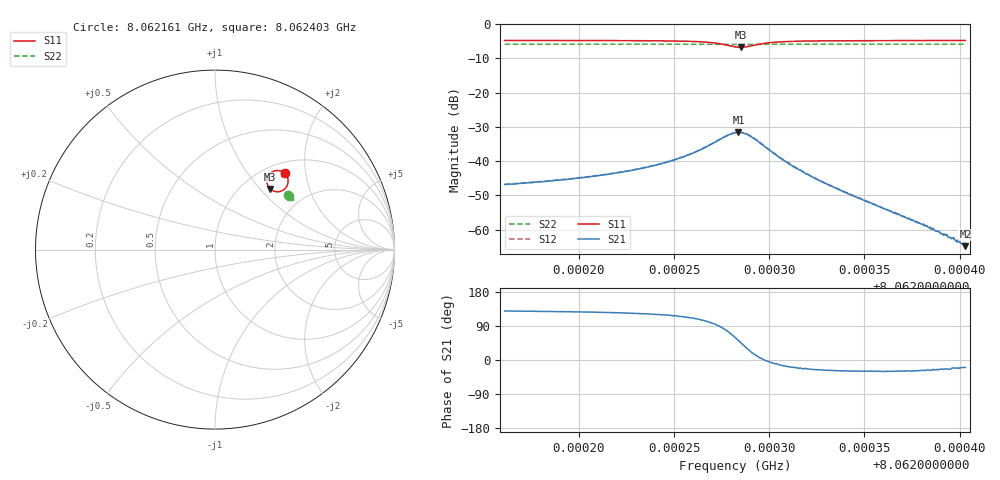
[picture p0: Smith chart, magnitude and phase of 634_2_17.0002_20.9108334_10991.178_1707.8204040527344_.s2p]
#  HZ  S  RI  R  50.00
! Rohde & Schwarz Vector Network Analyzer
! Rohde-Schwarz,ZNB20-2Port,1311601062101988,3.16
! Created: UTC 3/20/2024, 11:20:28 PM
! freq[Hz]  re:S11  im:S11  re:S21  im:S21  re:S12  im:S12  re:S22  im:S22
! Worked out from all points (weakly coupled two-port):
!   401 points, 8.062161 GHz to 8.062403 GHz, reference 50 ohm
!   highest |S21| = -31.64 dB at 8.0622838 GHz (marker M1); lowest = -64.8 dB at 8.062403 GHz (marker M2)
!   lowest |S11| = -6.8 dB at 8.062285 GHz (marker M3), VSWR 2.68, Z = 66.7 + j56.9 ohm
!   |S11| at or under -10 dB: nowhere
!   |S22| runs from -6.0 to -5.9 dB; largest |S21 - S12| = 0.0014
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8.062161e9  0.3889 0.4246  -0.00288 0.00352  -0.00269 0.0037  0.4082 0.3025
8.06220154e9  0.3944 0.4181  -0.00341 0.00458  -0.00318 0.00483  0.4095 0.3004
8.06222513e9  0.399 0.4111  -0.00397 0.00591  -0.0036 0.00618  0.4106 0.299
8.06224208e9  0.4032 0.4021  -0.00448 0.00777  -0.00404 0.0081  0.4112 0.2976
8.06225055e9  0.4056 0.3945  -0.00472 0.00934  -0.00418 0.00976  0.4114 0.2969
8.06225841e9  0.407 0.3835  -0.00469 0.0118  -0.00388 0.012  0.4116 0.2961
8.06226991e9  0.4005 0.3543  -0.00232 0.0177  -0.00128 0.0179  0.4113 0.2944
8.06227777e9  0.3691 0.326  0.00528 0.0228  0.00648 0.0227  0.4097 0.2931
8.06228201e9  0.3337 0.3239  0.0131 0.0224  0.0142 0.0217  0.4085 0.2933
8.06228382e9  0.3173 0.3306  0.0164 0.0204  0.0175 0.0199  0.4078 0.2937
8.06228503e9  0.3078 0.3377  0.0182 0.0186  0.0194 0.0179  0.4076 0.294
8.06228806e9  0.2919 0.3623  0.0211 0.013  0.0219 0.012  0.4074 0.2952
8.06229108e9  0.2892 0.3881  0.021 0.00721  0.0216 0.00621  0.4076 0.2961
8.06229895e9  0.3113 0.4277  0.0152 -0.000872  0.0154 -0.00163  0.4094 0.2973
8.06231165e9  0.3431 0.4402  0.00821 -0.00287  0.00823 -0.00335  0.4114 0.2968
8.06232254e9  0.3569 0.4398  0.00533 -0.00246  0.00527 -0.00281  0.4122 0.296
8.06233767e9  0.3676 0.437  0.00326 -0.00179  0.00322 -0.002  0.4133 0.295
8.06236308e9  0.3769 0.433  0.00164 -0.00094  0.00158 -0.00104  0.4145 0.2936
8.06238184e9  0.3811 0.4306  0.001 -0.000527  0.000991 -0.000596  0.4152 0.2925
8.06239817e9  0.3838 0.4289  0.000636 -0.000248  0.000625 -0.000336  0.4158 0.2915
8.0624012e9  0.3843 0.4285  0.000584 -0.000208  0.000562 -0.000233  0.4159 0.2915
8.06240301e9  0.3845 0.4283  0.000542 -0.000192  0.000581 -0.000279  0.4161 0.2911
